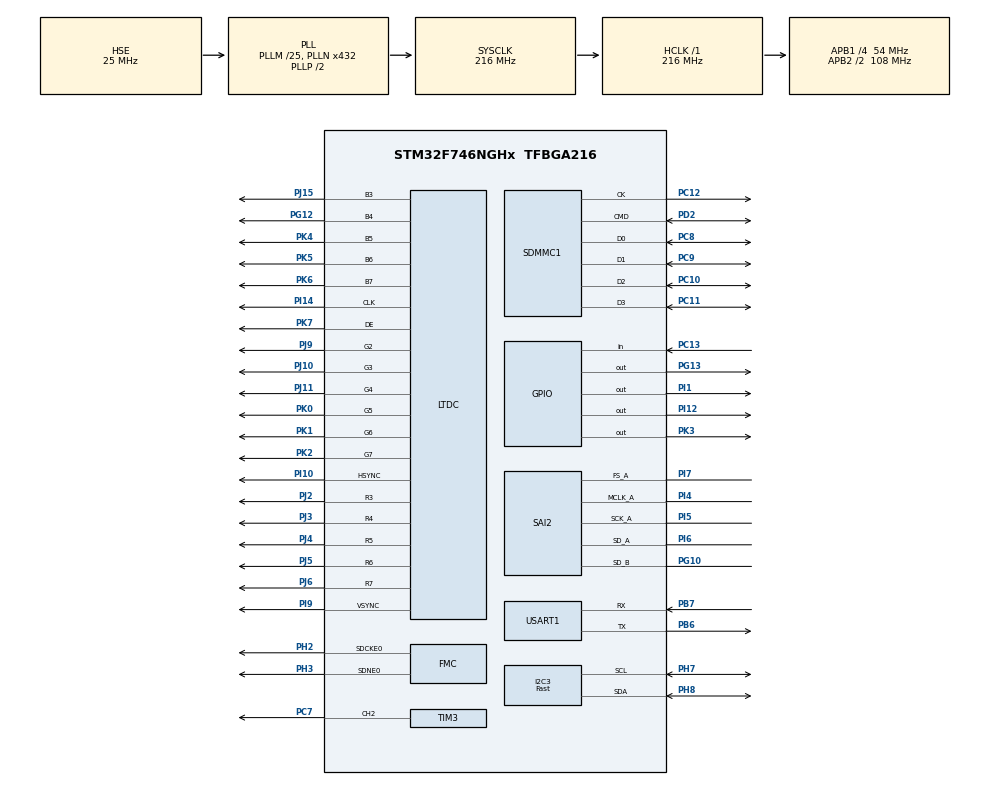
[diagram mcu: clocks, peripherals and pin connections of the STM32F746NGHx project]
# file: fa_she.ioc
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Dma.Request0=SAI2_A
Dma.Request1=SAI2_B
Dma.Request2=SDMMC1_RX
Dma.Request3=SDMMC1_TX
Dma.SAI2_A.0.Direction=DMA_MEMORY_TO_PERIPH
Dma.SAI2_A.0.FIFOMode=DMA_FIFOMODE_DISABLE
Dma.SAI2_A.0.Instance=DMA2_Stream4
Dma.SAI2_A.0.MemDataAlignment=DMA_MDATAALIGN_HALFWORD
Dma.SAI2_A.0.MemInc=DMA_MINC_ENABLE
Dma.SAI2_A.0.Mode=DMA_CIRCULAR
Dma.SAI2_A.0.PeriphDataAlignment=DMA_PDATAALIGN_HALFWORD
Dma.SAI2_A.0.PeriphInc=DMA_PINC_DISABLE
Dma.SAI2_A.0.Priority=DMA_PRIORITY_LOW
Dma.SAI2_B.1.Direction=DMA_PERIPH_TO_MEMORY
Dma.SAI2_B.1.FIFOMode=DMA_FIFOMODE_DISABLE
Dma.SAI2_B.1.Instance=DMA2_Stream7
Dma.SAI2_B.1.MemDataAlignment=DMA_MDATAALIGN_HALFWORD
Dma.SAI2_B.1.MemInc=DMA_MINC_ENABLE
Dma.SAI2_B.1.Mode=DMA_CIRCULAR
Dma.SAI2_B.1.PeriphDataAlignment=DMA_PDATAALIGN_HALFWORD
Dma.SAI2_B.1.PeriphInc=DMA_PINC_DISABLE
Dma.SAI2_B.1.Priority=DMA_PRIORITY_LOW
Dma.SDMMC1_RX.2.Direction=DMA_PERIPH_TO_MEMORY
Dma.SDMMC1_RX.2.FIFOMode=DMA_FIFOMODE_ENABLE
Dma.SDMMC1_RX.2.FIFOThreshold=DMA_FIFO_THRESHOLD_FULL
Dma.SDMMC1_RX.2.Instance=DMA2_Stream3
Dma.SDMMC1_RX.2.MemBurst=DMA_MBURST_INC4
Dma.SDMMC1_RX.2.MemDataAlignment=DMA_MDATAALIGN_WORD
Dma.SDMMC1_RX.2.MemInc=DMA_MINC_ENABLE
Dma.SDMMC1_RX.2.Mode=DMA_PFCTRL
Dma.SDMMC1_RX.2.PeriphBurst=DMA_PBURST_INC4
Dma.SDMMC1_RX.2.PeriphDataAlignment=DMA_PDATAALIGN_WORD
Dma.SDMMC1_RX.2.PeriphInc=DMA_PINC_DISABLE
Dma.SDMMC1_RX.2.Priority=DMA_PRIORITY_LOW
Dma.SDMMC1_TX.3.Direction=DMA_MEMORY_TO_PERIPH
Dma.SDMMC1_TX.3.FIFOMode=DMA_FIFOMODE_ENABLE
Dma.SDMMC1_TX.3.FIFOThreshold=DMA_FIFO_THRESHOLD_FULL
Dma.SDMMC1_TX.3.Instance=DMA2_Stream6
Dma.SDMMC1_TX.3.MemBurst=DMA_MBURST_INC4
Dma.SDMMC1_TX.3.MemDataAlignment=DMA_MDATAALIGN_WORD
Dma.SDMMC1_TX.3.MemInc=DMA_MINC_ENABLE
Dma.SDMMC1_TX.3.Mode=DMA_PFCTRL
Dma.SDMMC1_TX.3.PeriphBurst=DMA_PBURST_INC4
Dma.SDMMC1_TX.3.PeriphDataAlignment=DMA_PDATAALIGN_WORD
Dma.SDMMC1_TX.3.PeriphInc=DMA_PINC_DISABLE
Dma.SDMMC1_TX.3.Priority=DMA_PRIORITY_LOW
FATFS.BSP.number=1
FATFS.USE_DMA_CODE_SD=1
FATFS0.BSP.STBoard=false
FATFS0.BSP.api=Unknown
FATFS0.BSP.i2caddr=0
FATFS0.BSP.instance=PC13
FATFS0.BSP.ip=GPIO
FATFS0.BSP.mode=Input
FATFS0.BSP.name=Detect_SDIO
FATFS0.BSP.solution=PC13
GRAPHICS.BSP.number=1
GRAPHICS.Check_OTM8009A_PixelFormat-STemWin=1
GRAPHICS.DMA2D_Graphics-STemWin=0
GRAPHICS.EA_1_Apptype=Window
GRAPHICS.EA_1_executable_name-STemWin=GUIBuilder.exe
GRAPHICS.GUI_NUM_LAYERS-STemWin=1
GRAPHICS.GUI_Num_KBYTES=10
GRAPHICS.LIN_Color_Conversion_Layer0=GUICC_M565
GRAPHICS.LIN_Frame_Buffer_Depth_Layer0-STemWin=16
GRAPHICS.OPTIM_OS_use-STemWin=4
GRAPHICS.USE_Embedded_Wizard-STemWin=0
GRAPHICS.USE_STTouchGFX-STemWin=0
GRAPHICS.UseGUIBuilder=Enabled
GRAPHICS.Use_SDRAM-STemWin=SDRAM1_BANK1
GRAPHICS0.BSP.STBoard=false
GRAPHICS0.BSP.api=Unknown
GRAPHICS0.BSP.i2caddr=0
GRAPHICS0.BSP.instance=PG13
GRAPHICS0.BSP.ip=GPIO
GRAPHICS0.BSP.mode=Output
GRAPHICS0.BSP.name=LCD Reset Pin XRES
GRAPHICS0.BSP.solution=PG13
I2C3.I2C_Speed_Mode=I2C_Fast
I2C3.Timing=0x6000030D
LTDC.ActiveH=272
LTDC.ActiveW=480
LTDC.Alpha_L0=255
LTDC.FBStartAdress_L0=0x20010400
LTDC.HBP=43
LTDC.HFP=8
LTDC.HSync=1
LTDC.ImageHeight_L0=272
LTDC.ImageWidth_L0=480
LTDC.Layers=0
LTDC.PixelFormat_L0=LTDC_PIXEL_FORMAT_RGB565
LTDC.VBP=12
LTDC.VFP=4
LTDC.VSync=10
LTDC.WindowX1_L0=480
LTDC.WindowY1_L0=272
Mcu.Family=STM32F7
Mcu.Name=STM32F746NGHx
Mcu.Package=TFBGA216
NVIC.DMA2_Stream3_IRQn=true\:0\:0\:false\:false\:true\:false\:true
NVIC.DMA2_Stream4_IRQn=true\:0\:0\:false\:false\:true\:false\:true
NVIC.DMA2_Stream6_IRQn=true\:0\:0\:false\:false\:true\:false\:true
NVIC.DMA2_Stream7_IRQn=true\:0\:0\:false\:false\:true\:false\:true
NVIC.PriorityGroup=NVIC_PRIORITYGROUP_4
NVIC.SAI2_IRQn=true\:0\:0\:false\:false\:true\:true\:true
NVIC.SDMMC1_IRQn=true\:0\:0\:false\:false\:true\:true\:true
NVIC.TIM4_IRQn=true\:0\:0\:false\:false\:true\:true\:true
PA13.Mode=Trace_Asynchronous_SW
PA13.Signal=SYS_JTMS-SWDIO
PA14.Mode=Trace_Asynchronous_SW
PA14.Signal=SYS_JTCK-SWCLK
PB3.Mode=Trace_Asynchronous_SW
PB3.Signal=SYS_JTDO-SWO
PB6.Mode=Asynchronous
PB6.Signal=USART1_TX
PB7.Mode=Asynchronous
PB7.Signal=USART1_RX
PC10.Mode=SD_4_bits_Wide_bus
PC10.Signal=SDMMC1_D2
PC11.Mode=SD_4_bits_Wide_bus
PC11.Signal=SDMMC1_D3
PC12.Mode=SD_4_bits_Wide_bus
PC12.Signal=SDMMC1_CK
PC13.Signal=GPIO_Input
PC7.Signal=S_TIM3_CH2
PC8.Mode=SD_4_bits_Wide_bus
PC8.Signal=SDMMC1_D0
PC9.Mode=SD_4_bits_Wide_bus
PC9.Signal=SDMMC1_D1
PD2.Mode=SD_4_bits_Wide_bus
PD2.Signal=SDMMC1_CMD
PG10.Mode=SAI_B_SyncSlave
PG10.Signal=SAI2_SD_B
PG12.Mode=RGB565
PG12.Signal=LTDC_B4
PG13.Signal=GPIO_Output
PH0/OSC_IN.Mode=HSE-External-Oscillator
PH0/OSC_IN.Signal=RCC_OSC_IN
PH1/OSC_OUT.Mode=HSE-External-Oscillator
PH1/OSC_OUT.Signal=RCC_OSC_OUT
PH2.Mode=SdramChipSelect1_1
PH2.Signal=FMC_SDCKE0
PH3.Mode=SdramChipSelect1_1
PH3.Signal=FMC_SDNE0
PH7.Mode=I2C
PH7.Signal=I2C3_SCL
PH8.Mode=I2C
PH8.Signal=I2C3_SDA
PI1.Signal=GPIO_Output
PI10.Mode=RGB565
PI10.Signal=LTDC_HSYNC
PI12.PinState=GPIO_PIN_SET
PI12.Signal=GPIO_Output
PI14.Mode=RGB565
PI14.Signal=LTDC_CLK
PI4.Mode=SAI_A_MasterWithClock
PI4.Signal=SAI2_MCLK_A
PI5.Mode=SAI_A_MasterWithClock
PI5.Signal=SAI2_SCK_A
PI6.Mode=SAI_A_MasterWithClock
PI6.Signal=SAI2_SD_A
PI7.Mode=SAI_A_MasterWithClock
PI7.Signal=SAI2_FS_A
PI9.Mode=RGB565
PI9.Signal=LTDC_VSYNC
PJ10.Mode=RGB565
PJ10.Signal=LTDC_G3
PJ11.Mode=RGB565
PJ11.Signal=LTDC_G4
PJ15.Mode=RGB565
PJ15.Signal=LTDC_B3
PJ2.Mode=RGB565
PJ2.Signal=LTDC_R3
PJ3.Mode=RGB565
PJ3.Signal=LTDC_R4
PJ4.Mode=RGB565
PJ4.Signal=LTDC_R5
PJ5.Mode=RGB565
PJ5.Signal=LTDC_R6
PJ6.Mode=RGB565
PJ6.Signal=LTDC_R7
PJ9.Mode=RGB565
PJ9.Signal=LTDC_G2
PK0.Mode=RGB565
PK0.Signal=LTDC_G5
PK1.Mode=RGB565
PK1.Signal=LTDC_G6
PK2.Mode=RGB565
PK2.Signal=LTDC_G7
PK3.PinState=GPIO_PIN_SET
PK3.Signal=GPIO_Output
PK4.Mode=RGB565
PK4.Signal=LTDC_B5
PK5.Mode=RGB565
PK5.Signal=LTDC_B6
PK6.Mode=RGB565
PK6.Signal=LTDC_B7
PK7.Mode=RGB565
PK7.Signal=LTDC_DE
ProjectManager.HeapSize=0x1000
ProjectManager.StackSize=0x1000
ProjectManager.TargetToolchain=EWARM V8.32
RCC.AHBFreq_Value=216000000
RCC.APB1CLKDivider=RCC_HCLK_DIV4
RCC.APB1Freq_Value=54000000
RCC.APB1TimFreq_Value=108000000
RCC.APB2CLKDivider=RCC_HCLK_DIV2
RCC.APB2Freq_Value=108000000
RCC.APB2TimFreq_Value=216000000
RCC.CortexFreq_Value=216000000
RCC.HCLKFreq_Value=216000000
RCC.HSE_VALUE=25000000
RCC.HSI_VALUE=16000000
RCC.LSE_VALUE=32768
RCC.PLLI2SN=344
RCC.PLLI2SQ=7
RCC.PLLM=25
RCC.PLLN=432
RCC.PLLQ=9
RCC.PLLSAIN=200
RCC.PLLSAIR=5
RCC.PLLSAIRDiv=RCC_PLLSAIDIVR_4
RCC.PLLSourceVirtual=RCC_PLLSOURCE_HSE
RCC.SAI2CLockSelection=RCC_SAI2CLKSOURCE_PLLI2S
RCC.SDMMCClockSelection=RCC_SDMMC1CLKSOURCE_CLK48
RCC.SYSCLKFreq_VALUE=216000000
RCC.SYSCLKSource=RCC_SYSCLKSOURCE_PLLCLK
RCC.USBFreq_Value=48000000
RCC.VCOOutputFreq_Value=432000000
SAI2.ActiveFrameLength-SAI_A_MasterWithClock=32
SAI2.ActiveFrameLength-SAI_B_SyncSlave=32
SAI2.AudioFrequency-SAI_A_MasterWithClock=SAI_AUDIO_FREQUENCY_48K
SAI2.ClockStrobing-SAI_A_MasterWithClock=SAI_CLOCKSTROBING_RISINGEDGE
SAI2.ClockStrobing-SAI_B_SyncSlave=SAI_CLOCKSTROBING_FALLINGEDGE
SAI2.DataSize-SAI_A_MasterWithClock=SAI_DATASIZE_16
SAI2.DataSize-SAI_B_SyncSlave=SAI_DATASIZE_16
SAI2.ErrorAudioFreq-SAI_A_MasterWithClock=-0.01 %
SAI2.FIFOThreshold-SAI_A_MasterWithClock=SAI_FIFOTHRESHOLD_1QF
SAI2.FIFOThreshold-SAI_B_SyncSlave=SAI_FIFOTHRESHOLD_1QF
SAI2.FSDefinition-SAI_A_MasterWithClock=SAI_FS_CHANNEL_IDENTIFICATION
SAI2.FSDefinition-SAI_B_SyncSlave=SAI_FS_CHANNEL_IDENTIFICATION
SAI2.FrameLength-SAI_A_MasterWithClock=64
SAI2.FrameLength-SAI_B_SyncSlave=64
SAI2.Instance-SAI_A_MasterWithClock=SAI$Index_Block_A
SAI2.Instance-SAI_B_SyncSlave=SAI$Index_Block_B
SAI2.MClockEnable-SAI_A_MasterWithClock=SAI_MASTERCLOCK_ENABLE
SAI2.OutputDrive-SAI_A_MasterWithClock=SAI_OUTPUTDRIVE_ENABLE
SAI2.RealAudioFreq-SAI_A_MasterWithClock=47.991 KHz
SAI2.SlotActive-SAI_A_MasterWithClock=0x0000FFFF
SAI2.SlotActive-SAI_B_SyncSlave=0x0000FFFF
SAI2.SlotNumber-SAI_A_MasterWithClock=4
SAI2.SlotNumber-SAI_B_SyncSlave=4
SAI2.VirtualMode-SAI_A_MasterWithClock=VM_MASTER
SAI2.VirtualMode-SAI_B_SyncSlave=VM_SLAVE
SAI2.VirtualSlotActive-SAI_A_MasterWithClock=SAI_SLOTACTIVE_ALL
SAI2.VirtualSlotActive-SAI_B_SyncSlave=SAI_SLOTACTIVE_ALL
SH.S_TIM3_CH2.0=TIM3_CH2,PWM Generation2 CH2
TIM2.Prescaler=108-1
TIM3.Channel-PWM\ Generation2\ CH2=TIM_CHANNEL_2
TIM3.CounterMode=TIM_COUNTERMODE_DOWN
TIM3.Period=2000-1
TIM3.Prescaler=108-1
TIM3.Pulse-PWM\ Generation2\ CH2=1000
TIM4.Period=2500-1
TIM4.Prescaler=10800-1
USART1.VirtualMode-Asynchronous=VM_ASYNC
VP_CRC_VS_CRC.Mode=CRC_Activate
VP_FATFS_VS_SDIO.Mode=SDIO
VP_GRAPHICS_VS-DisplayInterface-LTDC.Mode=Display Parallel Interface using LTDC
VP_GRAPHICS_VS-STemWin.Mode=STemWin
VP_TIM2_VS_ClockSourceINT.Mode=Internal
VP_TIM3_VS_ClockSourceINT.Mode=Internal
VP_TIM4_VS_ClockSourceINT.Mode=Internal
board=custom

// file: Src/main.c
/* USER CODE BEGIN Header */
/**
  ******************************************************************************
  * @file           : main.c
  * @brief          : Main program body
  ******************************************************************************
  * @attention
  *
  * <h2><center>&copy; Copyright (c) 2024 STMicroelectronics.
  * All rights reserved.</center></h2>
  *
  * This software component is licensed by ST under Ultimate Liberty license
  * SLA0044, the "License"; You may not use this file except in compliance with
  * the License. You may obtain a copy of the License at:
  *                             www.st.com/SLA0044
  *
  ******************************************************************************
  */
/* USER CODE END Header */

#include "main.h"
#include "fatfs.h"

/* USER CODE BEGIN Includes */
#include <stdbool.h>
#include "DIALOG.h"
#include "arm_math.h"
#include "stdio.h"
#include <stdio.h>
#include <math.h>
#include "stm32746g_discovery_audio.h"
#include "arm_const_structs.h"
/* USER CODE END Includes */

/* USER CODE BEGIN PD */
#define BUFSIZE 2048
#define music_length 48
/* USER CODE END PD */

CRC_HandleTypeDef hcrc;

I2C_HandleTypeDef hi2c3;

SAI_HandleTypeDef hsai_BlockA2;
SAI_HandleTypeDef hsai_BlockB2;
DMA_HandleTypeDef hdma_sai2_a;
DMA_HandleTypeDef hdma_sai2_b;

SD_HandleTypeDef hsd1;
DMA_HandleTypeDef hdma_sdmmc1_rx;
DMA_HandleTypeDef hdma_sdmmc1_tx;

TIM_HandleTypeDef htim2;
TIM_HandleTypeDef htim3;
TIM_HandleTypeDef htim4;

UART_HandleTypeDef huart1;

void SystemClock_Config(void);
static void MX_GPIO_Init(void);
static void MX_CRC_Init(void);
extern void GRAPHICS_HW_Init(void);
extern void GRAPHICS_Init(void);
extern void GRAPHICS_MainTask(void);
static void MX_I2C3_Init(void);
static void MX_DMA_Init(void);
static void MX_SAI2_Init(void);
static void MX_SDMMC1_SD_Init(void);
static void MX_TIM2_Init(void);
static void MX_USART1_UART_Init(void);
static void MX_TIM3_Init(void);
static void MX_TIM4_Init(void);
/* USER CODE BEGIN PFP */
//uint32_t RBGcolor[2][2][2]={{
//                             {0x0000,0x001F},
//                             {0x07E0,0x07FF},
//                            },
//                            {
//                             {0xF800,0xF81F},
//                             {0xFFE0,0xFFFF},
//                            },
//                           };
uint32_t RBGcolor[2][2][2]={{
                             {0x000000,0x0000FF},
                             {0x00FF00,0x00FFFF},
                            },
                            {
                             {0xFF0000,0xFF00FF},
                             {0xFFFF00,0xFFFFFF},
                            },
                           };
uint16_t sound[8]={1,1912,1704,1517,1433,1276,1136,1012};
struct status state;
uint8_t music[music_length]={0},music_index=0;
//static int16_t music_output[BUFSIZE*2]; //双声道数据
static int16_t audio_output_start[BUFSIZE*2]={0}; //开始双声道数据
static int16_t audio_output_0[BUFSIZE*2]={0}; //0双声道数据
static int16_t audio_output_none[BUFSIZE*2]={0}; //信道估计双声道数据
static int16_t audio_output_1[BUFSIZE*2]={0}; //1双声道数据
float frequency[4]={18.75,19.21875,19.6875,20.15625};//开始，0，信道估计，1
int testdatabase[17] = {0};
bool flag=0,send_flag=0,music_flag=0,play_music_flag=0,send_data_flag=0;
int after_diff[17]={0};
int volumn[2]={0,0};
/* USER CODE END PFP */

/* USER CODE BEGIN 0 */
void checkTouch(void)
{
    uint8_t buf[6];
    HAL_I2C_Mem_Read(&hi2c3, 0x70, 0x02, 1, buf, 1, 1000);
    if(buf[0]>0 && buf[0]<6)
    {
        HAL_I2C_Mem_Read(&hi2c3, 0x70, 0x03, 1, buf, 4, 1000);
        GUI_TOUCH_StoreState((buf[2]<<8|buf[3])&0x0fff, (buf[0]<<8|buf[1])&0x0fff);
    }
    else
    {
        GUI_TOUCH_StoreState(-1,-1);
    }
}
void HAL_TIM_PeriodElapsedCallback(TIM_HandleTypeDef *htim)
{
  HAL_TIM_PWM_Stop(&htim3, TIM_CHANNEL_2);
  //checkTouch();
  __HAL_TIM_SetAutoreload(&htim3,sound[music[music_index]]);
  __HAL_TIM_SET_COMPARE(&htim3,TIM_CHANNEL_2,sound[music[music_index]]/2);
  for(int count1=0;count1<1000;count1++)
      for(int count2=0;count2<100;count2++);
  HAL_TIM_PWM_Start(&htim3, TIM_CHANNEL_2);
  music_index=(music_index+1)%music_length;
}
void diff_code(int data[17])
{
  after_diff[0]=data[0];
  for(int i=1;i<17;i++)
  {
    after_diff[i]=data[i];//(data[i]==data[i-1]);
  }
}
/*void calnumber(int output[17])
{
  volumn[0]=2;
  volumn[1]=1;
  for(int i=0;i<8;i++)
  {
    volumn[0]+=output[i];
  }
  for(int i=8;i<17;i++)
  {
    volumn[1]+=output[i];
  }
}
void clean_elements(void)
{
  for(int j=0;j<BUFSIZE*2;j++)
  {
    audio_output[j]=0;
    audio_output_2nd[j]=0;
  }
}
*/
void stop_send(void)
{
  BSP_AUDIO_OUT_Stop(CODEC_PDWN_SW);
}
void send(int data[17])
{
  int i;
  BSP_AUDIO_OUT_Stop(CODEC_PDWN_SW);
  BSP_AUDIO_OUT_Play((uint16_t*)audio_output_start, BUFSIZE*2);
  GUI_Delay(30);
  BSP_AUDIO_OUT_Stop(CODEC_PDWN_SW);
  for(i=0;i<17;i++)
  {
    if(data[i])
    {
      BSP_AUDIO_OUT_Play((uint16_t*)audio_output_1, BUFSIZE*2);
      GUI_Delay(30);
      BSP_AUDIO_OUT_Stop(CODEC_PDWN_SW);
    }
    else
    {
      BSP_AUDIO_OUT_Play((uint16_t*)audio_output_0, BUFSIZE*2);
      GUI_Delay(30);
      BSP_AUDIO_OUT_Stop(CODEC_PDWN_SW);
    }
  }
  //BSP_AUDIO_OUT_Play((uint16_t*)audio_output_none, BUFSIZE*2);
  //HAL_Delay(650);
}
/*void send(int data[17])
{
  BSP_AUDIO_OUT_Stop(CODEC_PDWN_SW);
  calnumber(data);
  clean_elements();
  for(int j=0;j<8;j++)
  {
    if(data[j])
    {
      for(int i=0;i<BUFSIZE;i++)
      {
        audio_output[i*2] += (16384/volumn[0])* sin(2*3.1415926535 *(frequency[j+1])/ 96 * i); //左声道 48KSPS,5kHz 正弦波
        audio_output[i*2+1] +=  (16384/volumn[0])* sin(2*3.1415926535 *(frequency[j+1])/ 96 * i); //右声道 48KSPS,20kHz 正弦波
      }
    }
  }
  for(int i=0;i<BUFSIZE;i++)
  {
    audio_output[i*2] += (16384/volumn[0]) * sin(2*3.1415926535 *(frequency[0])/ 96 * i); //左声道 48KSPS,5kHz 正弦波
    audio_output[i*2+1] += (16384/volumn[0]) * sin(2*3.1415926535 *(frequency[0])/ 96 * i); //右声道 48KSPS,20kHz 正弦波
    audio_output[i*2] += (16384/volumn[0]) * sin(2*3.1415926535 *(13.125)/ 96 * i); //左声道 48KSPS,5kHz 正弦波
    audio_output[i*2+1] += (16384/volumn[0]) * sin(2*3.1415926535 *(13.125)/ 96 * i); //右声道 48KSPS,20kHz 正弦波
    audio_output_2nd[i*2] += (16384/volumn[1]) * sin(2*3.1415926535 *(13.125)/ 96 * i); //左声道 48KSPS,5kHz 正弦波
    audio_output_2nd[i*2+1] += (16384/volumn[1]) * sin(2*3.1415926535 *(13.125)/ 96 * i); //右声道 48KSPS,20kHz 正弦波
  }
  for(int j=0;j<9;j++)
  {
    if(data[j+8])
    {
      for(int i=0;i<BUFSIZE;i++)
      {
        audio_output_2nd[i*2] += (16384/volumn[1])* sin(2*3.1415926535 *(frequency[j+1])/ 96 * i); //左声道 48KSPS,5kHz 正弦波
        audio_output_2nd[i*2+1] +=  (16384/volumn[1])* sin(2*3.1415926535 *(frequency[j+1])/ 96 * i); //右声道 48KSPS,20kHz 正弦波
      }
    }
  }
  send_data_flag=0;
  BSP_AUDIO_OUT_Play((uint16_t*)audio_output, BUFSIZE*2);
}
void change_send_data(void)
{
  if(send_data_flag)
  {
    BSP_AUDIO_OUT_Stop(CODEC_PDWN_SW);
    //GUI_Delay(1000);
    BSP_AUDIO_OUT_Play((uint16_t*)audio_output, BUFSIZE*2);
  }
  else
  {
    BSP_AUDIO_OUT_Stop(CODEC_PDWN_SW);
    //GUI_Delay(1000);
    BSP_AUDIO_OUT_Play((uint16_t*)audio_output_2nd, BUFSIZE*2);
  }
  send_data_flag=!send_data_flag;
}
bool clean_elements(void)
{
  for(int j=0;j<BUFSIZE*2;j++)
  {
    if(flag) {audio_output[j]=0; flag=0;}
    else {audio_output_2nd[j]=0; flag=1;}
  }
  return flag;
}

//void play_music(void)
//{
//    BSP_AUDIO_OUT_Play((uint16_t*)music_output, BUFSIZE*2);
////  flag=!flag;
////  switch((int)flag)
////  {
////  case 0:
////    for(int i=0;i<BUFSIZE;i++)
////    {
////      audio_output[i*2] = 0;//2*964 * sin(2*3.1415926535 *(13.125)/ 96 * i); //左声道 48KSPS,5kHz 正弦波
//////      audio_output[i*2+1] = 2*964 * sin(2*3.1415926535 *(13.125)/ 96 * i); //右声道 48KSPS,20kHz 正弦波
////    }
////    BSP_AUDIO_OUT_Play((uint16_t*)audio_output, BUFSIZE*2);
////    //HAL_Delay(300);
////    break;
////  case 1:
////    for(int i=0;i<BUFSIZE;i++)
////    {
////      audio_output_2nd[i*2] = music[i];//2*964 * sin(2*3.1415926535 *(13.125)/ 96 * i); //左声道 48KSPS,5kHz 正弦波
//////      audio_output_2nd[i*2+1] += 2*964 * sin(2*3.1415926535 *(13.125)/ 96 * i); //右声道 48KSPS,20kHz 正弦波
////    }
////    BSP_AUDIO_OUT_Play((uint16_t*)audio_output_2nd, BUFSIZE*2);
////    //HAL_Delay(300);
////    break;
////  }
//}
void send(int data[17])
{
  switch((int)clean_elements())
  {
  case 0:
    for(int j=0;j<17;j++)
    {
      if(data[j])
      {
        for(int i=0;i<BUFSIZE;i++)
        {
          //audio_output[i*2] += 0;//2*964 * sin(2*3.1415926535 *(frequency[j])/ 96 * i); //左声道 48KSPS,5kHz 正弦波
          audio_output[i*2+1] += 2*964 * sin(2*3.1415926535 *(frequency[j])/ 96 * i); //右声道 48KSPS,20kHz 正弦波
        }
      }
    }
    for(int i=0;i<BUFSIZE;i++)
    {
      //audio_output[i*2] = music[i];//2*964 * sin(2*3.1415926535 *(13.125)/ 96 * i); //左声道 48KSPS,5kHz 正弦波
      audio_output[i*2+1] += 2*964 * sin(2*3.1415926535 *(13.125)/ 96 * i); //右声道 48KSPS,20kHz 正弦波
    }
    BSP_AUDIO_OUT_Play((uint16_t*)audio_output, BUFSIZE*2);
    //HAL_Delay(300);
    break;
  case 1:
    for(int j=0;j<17;j++)
    {
      if(data[j])
      {
        for(int i=0;i<BUFSIZE;i++)
        {
          //audio_output_2nd[i*2] += 0;//2*964 * sin(2*3.1415926535 *(frequency[j])/ 96 * i); //左声道 48KSPS,5kHz 正弦波
          audio_output_2nd[i*2+1] += 2*964 * sin(2*3.1415926535 *(frequency[j])/ 96 * i); //右声道 48KSPS,20kHz 正弦波
        }
      }
    }
    for(int i=0;i<BUFSIZE;i++)
    {
      //audio_output_2nd[i*2] = music[i];//2*964 * sin(2*3.1415926535 *(13.125)/ 96 * i); //左声道 48KSPS,5kHz 正弦波
      audio_output_2nd[i*2+1] += 2*964 * sin(2*3.1415926535 *(13.125)/ 96 * i); //右声道 48KSPS,20kHz 正弦波
    }
    BSP_AUDIO_OUT_Play((uint16_t*)audio_output_2nd, BUFSIZE*2);
    //HAL_Delay(300);
    break;
  }
}
*/
/* USER CODE END 0 */

int main(void)
{

  /* MCU Configuration--------------------------------------------------------*/

  /* Reset of all peripherals, Initializes the Flash interface and the Systick. */
  HAL_Init();

  /* Configure the system clock */
  SystemClock_Config();

  /* Initialize all configured peripherals */
  MX_GPIO_Init();
  MX_CRC_Init();
  MX_I2C3_Init();
  MX_DMA_Init();
  MX_SAI2_Init();
  MX_SDMMC1_SD_Init();
  MX_TIM2_Init();
  MX_USART1_UART_Init();
  MX_TIM3_Init();
  MX_TIM4_Init();
  MX_FATFS_Init();
  /* USER CODE BEGIN 2 */
  retSD = f_mount (&SDFatFS, "", 0);
  //printf("%d\n",retSD);
  if(retSD==FR_OK)
  {
    //printf("mount OK\n");
    retSD = f_open (&SDFile, "music.txt", FA_OPEN_ALWAYS|FA_READ);
    //printf("%d\n",retSD);
    if(retSD==FR_OK)
    {
      //printf("open OK\n");
      retSD = f_read (&SDFile, music, music_length, 0);
      //printf("read ret:%d\n", retSD);
    }
    retSD = f_close (&SDFile);
    //printf("close ret:%d\n", retSD);
  }
  for(int i=0;i<music_length;i++)
  {
    music[i]=music[i]-'0';
  }
  HAL_TIM_Base_Start_IT(&htim4);
  HAL_TIM_PWM_Start(&htim3, TIM_CHANNEL_2);

  for(int i=0;i<BUFSIZE;i++)
  {
    audio_output_start[i*2] += (16384)* sin(2*3.1415926535 *(frequency[0])/ 96 * i); //左声道 48KSPS
    audio_output_start[i*2+1] += (16384)* sin(2*3.1415926535 *(frequency[0])/ 96 * i); //右声道 48KSPS
    audio_output_0[i*2] += (16384)* sin(2*3.1415926535 *(frequency[1])/ 96 * i); //左声道 48KSPS
    audio_output_0[i*2+1] += (16384)* sin(2*3.1415926535 *(frequency[1])/ 96 * i); //右声道 48KSPS
    audio_output_1[i*2] += (16384)* sin(2*3.1415926535 *(frequency[3])/ 96 * i); //左声道 48KSPS
    audio_output_1[i*2+1] += (16384)* sin(2*3.1415926535 *(frequency[3])/ 96 * i); //右声道 48KSPS
  }
//  for(int i=0;i<BUFSIZE;i++)
//  {
//    audio_output_start[i*2] += (16384/2)* sin(2*3.1415926535 *(frequency[2])/ 96 * i); //左声道 48KSPS
//    audio_output_start[i*2+1] += (16384/2)* sin(2*3.1415926535 *(frequency[2])/ 96 * i); //右声道 48KSPS
//    audio_output_0[i*2] += (16384/2)* sin(2*3.1415926535 *(frequency[2])/ 96 * i); //左声道 48KSPS
//    audio_output_0[i*2+1] += (16384/2)* sin(2*3.1415926535 *(frequency[2])/ 96 * i); //右声道 48KSPS
//    audio_output_none[i*2] += (16384/2)* sin(2*3.1415926535 *(frequency[2])/ 96 * i); //左声道 48KSPS
//    audio_output_none[i*2+1] += (16384/2)* sin(2*3.1415926535 *(frequency[2])/ 96 * i); //右声道 48KSPS
//    audio_output_1[i*2] += (16384/2)* sin(2*3.1415926535 *(frequency[2])/ 96 * i); //左声道 48KSPS
//    audio_output_1[i*2+1] += (16384/2)* sin(2*3.1415926535 *(frequency[2])/ 96 * i); //右声道 48KSPS
//  }
  BSP_AUDIO_OUT_Init(OUTPUT_DEVICE_BOTH, 100, SAI_AUDIO_FREQUENCY_96K);
  BSP_AUDIO_OUT_SetAudioFrameSlot(CODEC_AUDIOFRAME_SLOT_13);
  //BSP_AUDIO_OUT_Play((uint16_t*)audio_output_none, BUFSIZE*2);
  diff_code(testdatabase);
  send(after_diff);
  //play_music();
  send_flag=1;
  /* USER CODE END 2 */

/* Initialise the graphical hardware */
  GRAPHICS_HW_Init();

  /* Initialise the graphical stack engine */
  GRAPHICS_Init();

  /* Graphic application */
  GRAPHICS_MainTask();

  /* Infinite loop */
  for(;;);
}

void SystemClock_Config(void)
{
  RCC_OscInitTypeDef RCC_OscInitStruct = {0};
  RCC_ClkInitTypeDef RCC_ClkInitStruct = {0};
  RCC_PeriphCLKInitTypeDef PeriphClkInitStruct = {0};

  /** Configure the main internal regulator output voltage
  */
  __HAL_RCC_PWR_CLK_ENABLE();
  __HAL_PWR_VOLTAGESCALING_CONFIG(PWR_REGULATOR_VOLTAGE_SCALE1);
  /** Initializes the CPU, AHB and APB busses clocks
  */
  RCC_OscInitStruct.OscillatorType = RCC_OSCILLATORTYPE_HSE;
  RCC_OscInitStruct.HSEState = RCC_HSE_ON;
  RCC_OscInitStruct.PLL.PLLState = RCC_PLL_ON;
  RCC_OscInitStruct.PLL.PLLSource = RCC_PLLSOURCE_HSE;
  RCC_OscInitStruct.PLL.PLLM = 25;
  RCC_OscInitStruct.PLL.PLLN = 432;
  RCC_OscInitStruct.PLL.PLLP = RCC_PLLP_DIV2;
  RCC_OscInitStruct.PLL.PLLQ = 9;
  if (HAL_RCC_OscConfig(&RCC_OscInitStruct) != HAL_OK)
  {
    Error_Handler();
  }
  /** Activate the Over-Drive mode
  */
  if (HAL_PWREx_EnableOverDrive() != HAL_OK)
  {
    Error_Handler();
  }
  /** Initializes the CPU, AHB and APB busses clocks
  */
  RCC_ClkInitStruct.ClockType = RCC_CLOCKTYPE_HCLK|RCC_CLOCKTYPE_SYSCLK
                              |RCC_CLOCKTYPE_PCLK1|RCC_CLOCKTYPE_PCLK2;
  RCC_ClkInitStruct.SYSCLKSource = RCC_SYSCLKSOURCE_PLLCLK;
  RCC_ClkInitStruct.AHBCLKDivider = RCC_SYSCLK_DIV1;
  RCC_ClkInitStruct.APB1CLKDivider = RCC_HCLK_DIV4;
  RCC_ClkInitStruct.APB2CLKDivider = RCC_HCLK_DIV2;

  if (HAL_RCC_ClockConfig(&RCC_ClkInitStruct, FLASH_LATENCY_7) != HAL_OK)
  {
    Error_Handler();
  }
  PeriphClkInitStruct.PeriphClockSelection = RCC_PERIPHCLK_LTDC|RCC_PERIPHCLK_USART1
                              |RCC_PERIPHCLK_SAI2|RCC_PERIPHCLK_I2C3
                              |RCC_PERIPHCLK_SDMMC1|RCC_PERIPHCLK_CLK48;
  PeriphClkInitStruct.PLLI2S.PLLI2SN = 344;
  PeriphClkInitStruct.PLLI2S.PLLI2SP = RCC_PLLP_DIV2;
  PeriphClkInitStruct.PLLI2S.PLLI2SR = 2;
  PeriphClkInitStruct.PLLI2S.PLLI2SQ = 7;
  PeriphClkInitStruct.PLLSAI.PLLSAIN = 200;
  PeriphClkInitStruct.PLLSAI.PLLSAIR = 5;
  PeriphClkInitStruct.PLLSAI.PLLSAIQ = 2;
  PeriphClkInitStruct.PLLSAI.PLLSAIP = RCC_PLLSAIP_DIV2;
  PeriphClkInitStruct.PLLI2SDivQ = 1;
  PeriphClkInitStruct.PLLSAIDivQ = 1;
  PeriphClkInitStruct.PLLSAIDivR = RCC_PLLSAIDIVR_4;
  PeriphClkInitStruct.Sai2ClockSelection = RCC_SAI2CLKSOURCE_PLLI2S;
  PeriphClkInitStruct.Usart1ClockSelection = RCC_USART1CLKSOURCE_PCLK2;
  PeriphClkInitStruct.I2c3ClockSelection = RCC_I2C3CLKSOURCE_PCLK1;
  PeriphClkInitStruct.Clk48ClockSelection = RCC_CLK48SOURCE_PLL;
  PeriphClkInitStruct.Sdmmc1ClockSelection = RCC_SDMMC1CLKSOURCE_CLK48;
  if (HAL_RCCEx_PeriphCLKConfig(&PeriphClkInitStruct) != HAL_OK)
  {
    Error_Handler();
  }
}

static void MX_CRC_Init(void)
{

  hcrc.Instance = CRC;
  hcrc.Init.DefaultPolynomialUse = DEFAULT_POLYNOMIAL_ENABLE;
  hcrc.Init.DefaultInitValueUse = DEFAULT_INIT_VALUE_ENABLE;
  hcrc.Init.InputDataInversionMode = CRC_INPUTDATA_INVERSION_NONE;
  hcrc.Init.OutputDataInversionMode = CRC_OUTPUTDATA_INVERSION_DISABLE;
  hcrc.InputDataFormat = CRC_INPUTDATA_FORMAT_BYTES;
  if (HAL_CRC_Init(&hcrc) != HAL_OK)
  {
    Error_Handler();
  }

}

static void MX_I2C3_Init(void)
{

  hi2c3.Instance = I2C3;
  hi2c3.Init.Timing = 0x6000030D;
  hi2c3.Init.OwnAddress1 = 0;
  hi2c3.Init.AddressingMode = I2C_ADDRESSINGMODE_7BIT;
  hi2c3.Init.DualAddressMode = I2C_DUALADDRESS_DISABLE;
  hi2c3.Init.OwnAddress2 = 0;
  hi2c3.Init.OwnAddress2Masks = I2C_OA2_NOMASK;
  hi2c3.Init.GeneralCallMode = I2C_GENERALCALL_DISABLE;
  hi2c3.Init.NoStretchMode = I2C_NOSTRETCH_DISABLE;
  if (HAL_I2C_Init(&hi2c3) != HAL_OK)
  {
    Error_Handler();
  }
  /** Configure Analogue filter
  */
  if (HAL_I2CEx_ConfigAnalogFilter(&hi2c3, I2C_ANALOGFILTER_ENABLE) != HAL_OK)
  {
    Error_Handler();
  }
  /** Configure Digital filter
  */
  if (HAL_I2CEx_ConfigDigitalFilter(&hi2c3, 0) != HAL_OK)
  {
    Error_Handler();
  }

}

static void MX_SAI2_Init(void)
{

  hsai_BlockA2.Instance = SAI2_Block_A;
  hsai_BlockA2.Init.Protocol = SAI_FREE_PROTOCOL;
  hsai_BlockA2.Init.AudioMode = SAI_MODEMASTER_TX;
  hsai_BlockA2.Init.DataSize = SAI_DATASIZE_16;
  hsai_BlockA2.Init.FirstBit = SAI_FIRSTBIT_MSB;
  hsai_BlockA2.Init.ClockStrobing = SAI_CLOCKSTROBING_RISINGEDGE;
  hsai_BlockA2.Init.Synchro = SAI_ASYNCHRONOUS;
  hsai_BlockA2.Init.OutputDrive = SAI_OUTPUTDRIVE_ENABLE;
  hsai_BlockA2.Init.NoDivider = SAI_MASTERDIVIDER_ENABLE;
  hsai_BlockA2.Init.FIFOThreshold = SAI_FIFOTHRESHOLD_1QF;
  hsai_BlockA2.Init.AudioFrequency = SAI_AUDIO_FREQUENCY_48K;
  hsai_BlockA2.Init.SynchroExt = SAI_SYNCEXT_DISABLE;
  hsai_BlockA2.Init.MonoStereoMode = SAI_STEREOMODE;
  hsai_BlockA2.Init.CompandingMode = SAI_NOCOMPANDING;
  hsai_BlockA2.Init.TriState = SAI_OUTPUT_NOTRELEASED;
  hsai_BlockA2.FrameInit.FrameLength = 64;
  hsai_BlockA2.FrameInit.ActiveFrameLength = 32;
  hsai_BlockA2.FrameInit.FSDefinition = SAI_FS_CHANNEL_IDENTIFICATION;
  hsai_BlockA2.FrameInit.FSPolarity = SAI_FS_ACTIVE_LOW;
  hsai_BlockA2.FrameInit.FSOffset = SAI_FS_FIRSTBIT;
  hsai_BlockA2.SlotInit.FirstBitOffset = 0;
  hsai_BlockA2.SlotInit.SlotSize = SAI_SLOTSIZE_DATASIZE;
  hsai_BlockA2.SlotInit.SlotNumber = 4;
  hsai_BlockA2.SlotInit.SlotActive = 0x0000FFFF;
  if (HAL_SAI_Init(&hsai_BlockA2) != HAL_OK)
  {
    Error_Handler();
  }
  hsai_BlockB2.Instance = SAI2_Block_B;
  hsai_BlockB2.Init.Protocol = SAI_FREE_PROTOCOL;
  hsai_BlockB2.Init.AudioMode = SAI_MODESLAVE_RX;
  hsai_BlockB2.Init.DataSize = SAI_DATASIZE_16;
  hsai_BlockB2.Init.FirstBit = SAI_FIRSTBIT_MSB;
  hsai_BlockB2.Init.ClockStrobing = SAI_CLOCKSTROBING_FALLINGEDGE;
  hsai_BlockB2.Init.Synchro = SAI_SYNCHRONOUS;
  hsai_BlockB2.Init.OutputDrive = SAI_OUTPUTDRIVE_DISABLE;
  hsai_BlockB2.Init.FIFOThreshold = SAI_FIFOTHRESHOLD_1QF;
  hsai_BlockB2.Init.SynchroExt = SAI_SYNCEXT_DISABLE;
  hsai_BlockB2.Init.MonoStereoMode = SAI_STEREOMODE;
  hsai_BlockB2.Init.CompandingMode = SAI_NOCOMPANDING;
  hsai_BlockB2.Init.TriState = SAI_OUTPUT_NOTRELEASED;
  hsai_BlockB2.FrameInit.FrameLength = 64;
  hsai_BlockB2.FrameInit.ActiveFrameLength = 32;
  hsai_BlockB2.FrameInit.FSDefinition = SAI_FS_CHANNEL_IDENTIFICATION;
  hsai_BlockB2.FrameInit.FSPolarity = SAI_FS_ACTIVE_LOW;
  hsai_BlockB2.FrameInit.FSOffset = SAI_FS_FIRSTBIT;
  hsai_BlockB2.SlotInit.FirstBitOffset = 0;
  hsai_BlockB2.SlotInit.SlotSize = SAI_SLOTSIZE_DATASIZE;
  hsai_BlockB2.SlotInit.SlotNumber = 4;
  hsai_BlockB2.SlotInit.SlotActive = 0x0000FFFF;
  if (HAL_SAI_Init(&hsai_BlockB2) != HAL_OK)
  {
    Error_Handler();
  }

}

static void MX_SDMMC1_SD_Init(void)
{

  hsd1.Instance = SDMMC1;
  hsd1.Init.ClockEdge = SDMMC_CLOCK_EDGE_RISING;
  hsd1.Init.ClockBypass = SDMMC_CLOCK_BYPASS_DISABLE;
  hsd1.Init.ClockPowerSave = SDMMC_CLOCK_POWER_SAVE_DISABLE;
  hsd1.Init.BusWide = SDMMC_BUS_WIDE_1B;
  hsd1.Init.HardwareFlowControl = SDMMC_HARDWARE_FLOW_CONTROL_DISABLE;
  hsd1.Init.ClockDiv = 0;

}

static void MX_TIM2_Init(void)
{

  TIM_ClockConfigTypeDef sClockSourceConfig = {0};
  TIM_MasterConfigTypeDef sMasterConfig = {0};

  htim2.Instance = TIM2;
  htim2.Init.Prescaler = 108-1;
  htim2.Init.CounterMode = TIM_COUNTERMODE_UP;
  htim2.Init.Period = 0;
  htim2.Init.ClockDivision = TIM_CLOCKDIVISION_DIV1;
  htim2.Init.AutoReloadPreload = TIM_AUTORELOAD_PRELOAD_DISABLE;
  if (HAL_TIM_Base_Init(&htim2) != HAL_OK)
  {
    Error_Handler();
  }
  sClockSourceConfig.ClockSource = TIM_CLOCKSOURCE_INTERNAL;
  if (HAL_TIM_ConfigClockSource(&htim2, &sClockSourceConfig) != HAL_OK)
  {
    Error_Handler();
  }
  sMasterConfig.MasterOutputTrigger = TIM_TRGO_RESET;
  sMasterConfig.MasterSlaveMode = TIM_MASTERSLAVEMODE_DISABLE;
  if (HAL_TIMEx_MasterConfigSynchronization(&htim2, &sMasterConfig) != HAL_OK)
  {
    Error_Handler();
  }

}

static void MX_TIM3_Init(void)
{

  TIM_ClockConfigTypeDef sClockSourceConfig = {0};
  TIM_MasterConfigTypeDef sMasterConfig = {0};
  TIM_OC_InitTypeDef sConfigOC = {0};

  htim3.Instance = TIM3;
  htim3.Init.Prescaler = 108-1;
  htim3.Init.CounterMode = TIM_COUNTERMODE_DOWN;
  htim3.Init.Period = 2000-1;
  htim3.Init.ClockDivision = TIM_CLOCKDIVISION_DIV1;
  htim3.Init.AutoReloadPreload = TIM_AUTORELOAD_PRELOAD_DISABLE;
  if (HAL_TIM_Base_Init(&htim3) != HAL_OK)
  {
    Error_Handler();
  }
  sClockSourceConfig.ClockSource = TIM_CLOCKSOURCE_INTERNAL;
  if (HAL_TIM_ConfigClockSource(&htim3, &sClockSourceConfig) != HAL_OK)
  {
    Error_Handler();
  }
  if (HAL_TIM_PWM_Init(&htim3) != HAL_OK)
  {
    Error_Handler();
  }
  sMasterConfig.MasterOutputTrigger = TIM_TRGO_RESET;
  sMasterConfig.MasterSlaveMode = TIM_MASTERSLAVEMODE_DISABLE;
  if (HAL_TIMEx_MasterConfigSynchronization(&htim3, &sMasterConfig) != HAL_OK)
  {
    Error_Handler();
  }
  sConfigOC.OCMode = TIM_OCMODE_PWM1;
  sConfigOC.Pulse = 1000;
  sConfigOC.OCPolarity = TIM_OCPOLARITY_HIGH;
  sConfigOC.OCFastMode = TIM_OCFAST_DISABLE;
  if (HAL_TIM_PWM_ConfigChannel(&htim3, &sConfigOC, TIM_CHANNEL_2) != HAL_OK)
  {
    Error_Handler();
  }
  HAL_TIM_MspPostInit(&htim3);

}

static void MX_TIM4_Init(void)
{

  TIM_ClockConfigTypeDef sClockSourceConfig = {0};
  TIM_MasterConfigTypeDef sMasterConfig = {0};

  htim4.Instance = TIM4;
  htim4.Init.Prescaler = 10800-1;
  htim4.Init.CounterMode = TIM_COUNTERMODE_UP;
  htim4.Init.Period = 2500-1;
  htim4.Init.ClockDivision = TIM_CLOCKDIVISION_DIV1;
  htim4.Init.AutoReloadPreload = TIM_AUTORELOAD_PRELOAD_DISABLE;
  if (HAL_TIM_Base_Init(&htim4) != HAL_OK)
  {
    Error_Handler();
  }
  sClockSourceConfig.ClockSource = TIM_CLOCKSOURCE_INTERNAL;
  if (HAL_TIM_ConfigClockSource(&htim4, &sClockSourceConfig) != HAL_OK)
  {
    Error_Handler();
  }
  sMasterConfig.MasterOutputTrigger = TIM_TRGO_RESET;
  sMasterConfig.MasterSlaveMode = TIM_MASTERSLAVEMODE_DISABLE;
  if (HAL_TIMEx_MasterConfigSynchronization(&htim4, &sMasterConfig) != HAL_OK)
  {
    Error_Handler();
  }

}

static void MX_USART1_UART_Init(void)
{

  huart1.Instance = USART1;
  huart1.Init.BaudRate = 115200;
  huart1.Init.WordLength = UART_WORDLENGTH_8B;
  huart1.Init.StopBits = UART_STOPBITS_1;
  huart1.Init.Parity = UART_PARITY_NONE;
  huart1.Init.Mode = UART_MODE_TX_RX;
  huart1.Init.HwFlowCtl = UART_HWCONTROL_NONE;
  huart1.Init.OverSampling = UART_OVERSAMPLING_16;
  huart1.Init.OneBitSampling = UART_ONE_BIT_SAMPLE_DISABLE;
  huart1.AdvancedInit.AdvFeatureInit = UART_ADVFEATURE_NO_INIT;
  if (HAL_UART_Init(&huart1) != HAL_OK)
  {
    Error_Handler();
  }

}

static void MX_DMA_Init(void)
{

  /* DMA controller clock enable */
  __HAL_RCC_DMA2_CLK_ENABLE();

  /* DMA interrupt init */
  /* DMA2_Stream3_IRQn interrupt configuration */
  HAL_NVIC_SetPriority(DMA2_Stream3_IRQn, 0, 0);
  HAL_NVIC_EnableIRQ(DMA2_Stream3_IRQn);
  /* DMA2_Stream4_IRQn interrupt configuration */
  HAL_NVIC_SetPriority(DMA2_Stream4_IRQn, 0, 0);
  HAL_NVIC_EnableIRQ(DMA2_Stream4_IRQn);
  /* DMA2_Stream6_IRQn interrupt configuration */
  HAL_NVIC_SetPriority(DMA2_Stream6_IRQn, 0, 0);
  HAL_NVIC_EnableIRQ(DMA2_Stream6_IRQn);
  /* DMA2_Stream7_IRQn interrupt configuration */
  HAL_NVIC_SetPriority(DMA2_Stream7_IRQn, 0, 0);
  HAL_NVIC_EnableIRQ(DMA2_Stream7_IRQn);

}

static void MX_GPIO_Init(void)
{
  GPIO_InitTypeDef GPIO_InitStruct = {0};

  /* GPIO Ports Clock Enable */
  __HAL_RCC_GPIOB_CLK_ENABLE();
  __HAL_RCC_GPIOC_CLK_ENABLE();
  __HAL_RCC_GPIOA_CLK_ENABLE();
  __HAL_RCC_GPIOG_CLK_ENABLE();
  __HAL_RCC_GPIOI_CLK_ENABLE();
  __HAL_RCC_GPIOK_CLK_ENABLE();
  __HAL_RCC_GPIOJ_CLK_ENABLE();
  __HAL_RCC_GPIOD_CLK_ENABLE();
  __HAL_RCC_GPIOH_CLK_ENABLE();

  /*Configure GPIO pin Output Level */
  HAL_GPIO_WritePin(GPIOG, GPIO_PIN_13, GPIO_PIN_RESET);

  /*Configure GPIO pin Output Level */
  HAL_GPIO_WritePin(GPIOK, GPIO_PIN_3, GPIO_PIN_SET);

  /*Configure GPIO pin Output Level */
  HAL_GPIO_WritePin(GPIOI, GPIO_PIN_1, GPIO_PIN_RESET);

  /*Configure GPIO pin Output Level */
  HAL_GPIO_WritePin(GPIOI, GPIO_PIN_12, GPIO_PIN_SET);

  /*Configure GPIO pin : PG13 */
  GPIO_InitStruct.Pin = GPIO_PIN_13;
  GPIO_InitStruct.Mode = GPIO_MODE_OUTPUT_PP;
  GPIO_InitStruct.Pull = GPIO_NOPULL;
  GPIO_InitStruct.Speed = GPIO_SPEED_FREQ_LOW;
  HAL_GPIO_Init(GPIOG, &GPIO_InitStruct);

  /*Configure GPIO pin : PC13 */
  GPIO_InitStruct.Pin = GPIO_PIN_13;
  GPIO_InitStruct.Mode = GPIO_MODE_INPUT;
  GPIO_InitStruct.Pull = GPIO_NOPULL;
  HAL_GPIO_Init(GPIOC, &GPIO_InitStruct);

  /*Configure GPIO pin : PK3 */
  GPIO_InitStruct.Pin = GPIO_PIN_3;
  GPIO_InitStruct.Mode = GPIO_MODE_OUTPUT_PP;
  GPIO_InitStruct.Pull = GPIO_NOPULL;
  GPIO_InitStruct.Speed = GPIO_SPEED_FREQ_LOW;
  HAL_GPIO_Init(GPIOK, &GPIO_InitStruct);

  /*Configure GPIO pins : PI1 PI12 */
  GPIO_InitStruct.Pin = GPIO_PIN_1|GPIO_PIN_12;
  GPIO_InitStruct.Mode = GPIO_MODE_OUTPUT_PP;
  GPIO_InitStruct.Pull = GPIO_NOPULL;
  GPIO_InitStruct.Speed = GPIO_SPEED_FREQ_LOW;
  HAL_GPIO_Init(GPIOI, &GPIO_InitStruct);

}

void Error_Handler(void)
{
}

/************************ (C) COPYRIGHT STMicroelectronics *****END OF FILE****/
